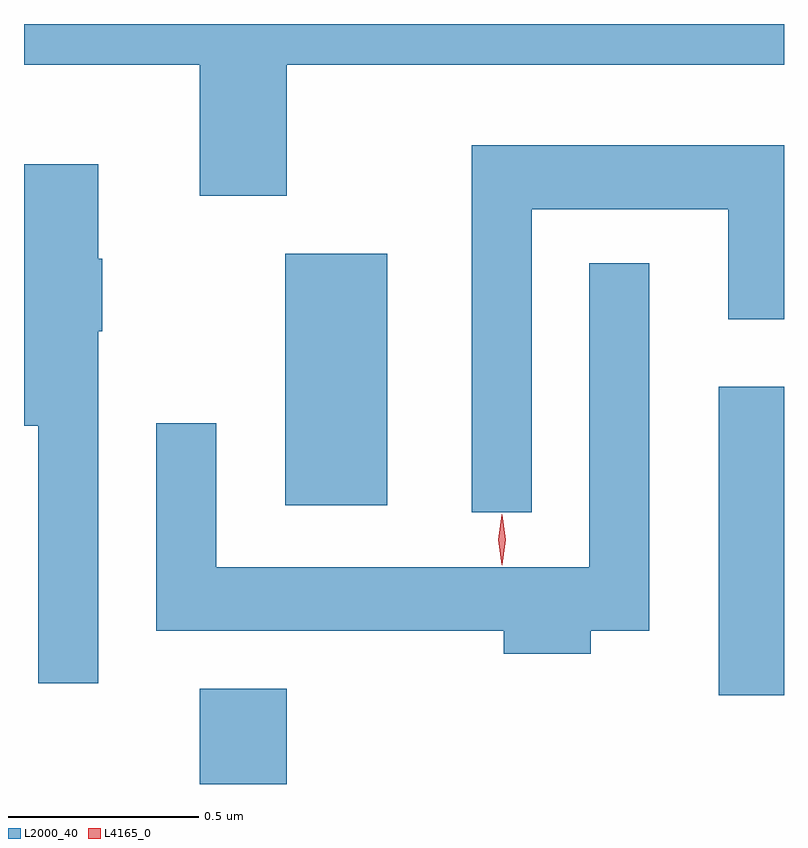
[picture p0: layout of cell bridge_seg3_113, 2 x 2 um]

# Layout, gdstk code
import gdstk
lib = gdstk.Library(unit=1e-6, precision=1e-09)
def R(c, l, rs):  # rectangles x0, y0, x1, y1
    for r in rs: c.add(gdstk.rectangle(r[:2], r[2:], *l))
def P(c, l, *ps):  # polygons
    for p in ps: c.add(gdstk.Polygon(p, *l))
L2000_40 = (2000, 40)
L4165_0 = (4165, 0)

bridge_seg3_113 = lib.new_cell('bridge_seg3_113')
R(bridge_seg3_113, L2000_40, [(1007.211,1215.143,1007.439,1215.394), (1008.576,1215.376,1008.748,1216.189), (1007.436,1215.876,1007.704,1216.539)])
P(bridge_seg3_113, L2000_40, [(1007.439,1217.036),(1008.748,1217.036),(1008.748,1217.143),(1006.748,1217.143),(1006.748,1217.036),(1007.211,1217.036),(1007.211,1216.691),(1007.439,1216.691)],
  [(1008.084,1216.656),(1008.601,1216.656),(1008.601,1216.366),(1008.748,1216.366),(1008.748,1216.824),(1007.926,1216.824),(1007.926,1215.858),(1008.084,1215.858)],
  [(1006.944,1216.335),(1006.954,1216.335),(1006.954,1216.525),(1006.944,1216.525),(1006.944,1216.774),(1006.748,1216.774),(1006.748,1216.086),(1006.786,1216.086),(1006.786,1215.408),(1006.944,1215.408)],
  [(1008.239,1215.546),(1008.394,1215.546),(1008.394,1216.513),(1008.236,1216.513),(1008.236,1215.714),(1007.254,1215.714),(1007.254,1216.093),(1007.096,1216.093),(1007.096,1215.546),(1008.011,1215.546),(1008.011,1215.486),(1008.239,1215.486)])
P(bridge_seg3_113, L4165_0, [(1008.006,1215.719),(1008.005,1215.72),(1007.996,1215.786),(1008.005,1215.852),(1008.005,1215.853),(1008.006,1215.852),(1008.016,1215.786),(1008.006,1215.72)])

lib.write_gds('bridge_seg3_113.gds')
